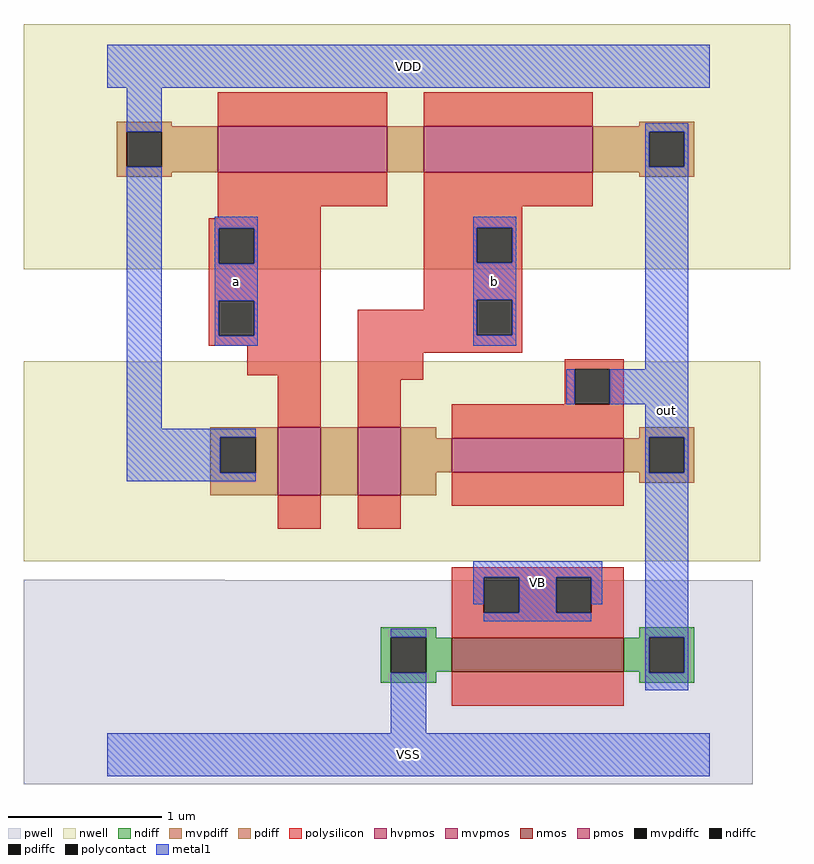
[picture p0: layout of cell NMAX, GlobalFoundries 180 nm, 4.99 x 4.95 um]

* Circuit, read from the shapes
.subckt NMAX VSS VDD out a b VB
XM1 out VB VSS VSUBS nfet_03v3 w=0.22u l=1.12u
XM2 n1 a VDD n2 pfet_06v0 w=0.3u l=1.1u
XM3 n3 a VDD n4 pfet_03v3 w=0.44u l=0.28u
XM4 n5 b n3 n4 pfet_03v3 w=0.44u l=0.28u
XM5 out b n1 n2 pfet_06v0 w=0.3u l=1.1u
XM6 out out n5 n4 pfet_03v3 w=0.22u l=1.12u
.ends

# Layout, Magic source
magic
tech gf180mcuD
magscale 1 10
<< nwell >>
rect -109 632 889 951
rect -109 252 850 512
<< pwell >>
rect -109 227 153 228
rect -109 -38 840 227
<< nmos >>
rect 448 108 672 152
<< pmos >>
rect 222 338 278 426
rect 326 338 382 426
rect 448 368 672 412
<< mvpmos >>
rect 144 758 364 818
<< hvpmos >>
rect 412 758 632 818
<< ndiff >>
rect 356 153 428 166
rect 356 107 369 153
rect 415 152 428 153
rect 692 153 764 166
rect 692 152 705 153
rect 415 108 448 152
rect 672 108 705 152
rect 415 107 428 108
rect 356 94 428 107
rect 692 107 705 108
rect 751 107 764 153
rect 692 94 764 107
<< pdiff >>
rect 134 413 222 426
rect 134 367 147 413
rect 193 367 222 413
rect 134 338 222 367
rect 278 338 326 426
rect 382 412 428 426
rect 692 413 764 426
rect 692 412 705 413
rect 382 368 448 412
rect 672 368 705 412
rect 382 338 428 368
rect 692 367 705 368
rect 751 367 764 413
rect 692 354 764 367
<< mvpdiff >>
rect 12 818 84 824
rect 692 818 764 824
rect 12 811 144 818
rect 12 765 25 811
rect 71 765 144 811
rect 12 758 144 765
rect 364 758 412 818
rect 632 811 764 818
rect 632 765 705 811
rect 751 765 764 811
rect 632 758 764 765
rect 12 752 84 758
rect 692 752 764 758
<< ndiffc >>
rect 369 107 415 153
rect 705 107 751 153
<< pdiffc >>
rect 147 367 193 413
rect 705 367 751 413
<< mvpdiffc >>
rect 25 765 71 811
rect 705 765 751 811
<< polysilicon >>
rect 144 818 364 862
rect 412 818 632 862
rect 144 714 364 758
rect 412 714 632 758
rect 144 698 278 714
rect 132 685 278 698
rect 132 639 145 685
rect 191 639 278 685
rect 132 591 278 639
rect 132 545 145 591
rect 191 545 278 591
rect 412 686 540 714
rect 412 640 481 686
rect 527 640 540 686
rect 412 592 540 640
rect 412 579 481 592
rect 132 532 278 545
rect 182 494 278 532
rect 222 426 278 494
rect 326 546 481 579
rect 527 546 540 592
rect 326 523 540 546
rect 326 488 411 523
rect 595 502 672 515
rect 326 426 382 488
rect 595 456 608 502
rect 654 456 672 502
rect 448 412 672 456
rect 222 294 278 338
rect 326 294 382 338
rect 448 324 672 368
rect 448 231 672 244
rect 448 185 490 231
rect 536 185 584 231
rect 630 185 672 231
rect 448 152 672 185
rect 448 64 672 108
<< polycontact >>
rect 145 639 191 685
rect 145 545 191 591
rect 481 640 527 686
rect 481 546 527 592
rect 608 456 654 502
rect 490 185 536 231
rect 584 185 630 231
<< metal1 >>
rect 0 868 784 924
rect 25 811 71 868
rect 25 424 71 765
rect 700 811 756 822
rect 700 765 705 811
rect 751 765 756 811
rect 140 685 196 700
rect 140 639 145 685
rect 191 639 196 685
rect 140 591 196 639
rect 140 545 145 591
rect 191 545 196 591
rect 140 532 196 545
rect 476 686 532 700
rect 476 640 481 686
rect 527 640 532 686
rect 476 592 532 640
rect 476 546 481 592
rect 527 546 532 592
rect 476 532 532 546
rect 700 502 756 765
rect 597 456 608 502
rect 654 456 756 502
rect 25 413 193 424
rect 25 367 147 413
rect 25 356 193 367
rect 700 413 756 456
rect 700 367 705 413
rect 751 367 756 413
rect 476 231 644 252
rect 476 196 490 231
rect 536 185 584 231
rect 630 196 644 231
rect 490 174 630 185
rect 369 153 415 164
rect 369 28 415 107
rect 700 153 756 367
rect 700 107 705 153
rect 751 107 756 153
rect 700 84 756 107
rect 0 -28 784 28
<< labels >>
rlabel metal1 0 -28 784 28 0 VSS
port 1 nsew ground bidirectional
rlabel metal1 0 868 784 924 0 VDD
port 2 nsew power bidirectional
rlabel metal1 700 84 756 812 0 out
port 3 nsew signal output
rlabel metal1 140 532 196 700 0 a
port 5 nsew signal bidirectional
rlabel metal1 476 532 532 700 0 b
port 6 nsew signal bidirectional
rlabel metal1 476 196 644 252 0 VB
port 7 nsew signal input
<< properties >>
string FIXED_BBOX 0 0 784 896
string fixed_BBOX 0 0 784 896
string LEFclass core
string LEFsite site056um
<< end >>
